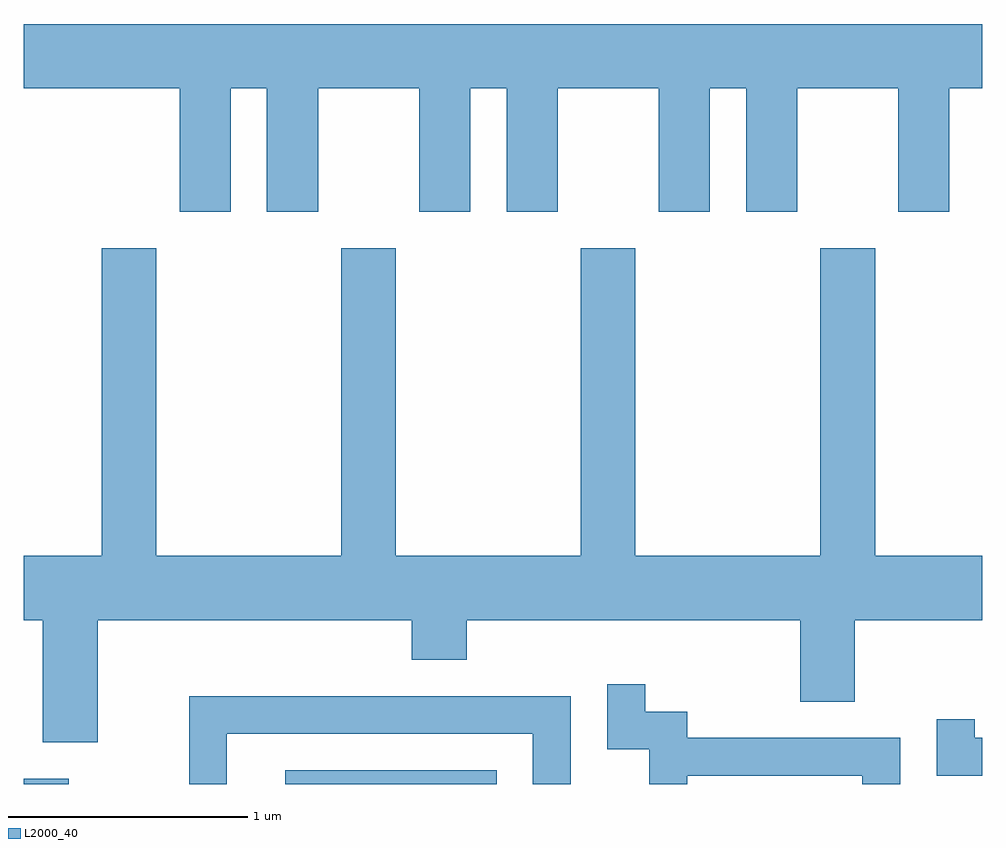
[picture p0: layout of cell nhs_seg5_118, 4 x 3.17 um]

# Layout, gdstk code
import gdstk
lib = gdstk.Library(unit=1e-6, precision=1e-09)
def R(c, l, rs):  # rectangles x0, y0, x1, y1
    for r in rs: c.add(gdstk.rectangle(r[:2], r[2:], *l))
def P(c, l, *ps):  # polygons
    for p in ps: c.add(gdstk.Polygon(p, *l))
L2000_40 = (2000, 40)

nhs_seg5_118 = lib.new_cell('nhs_seg5_118')
R(nhs_seg5_118, L2000_40, [(187.611,1496.072,187.799,1496.094), (188.703,1496.072,189.584,1496.129)])
P(nhs_seg5_118, L2000_40, [(188.474,1498.976),(188.626,1498.976),(188.626,1498.461),(188.839,1498.461),(188.839,1498.976),(189.261,1498.976),(189.261,1498.461),(189.474,1498.461),(189.474,1498.976),(189.626,1498.976),(189.626,1498.461),(189.839,1498.461),(189.839,1498.976),(190.261,1498.976),(190.261,1498.461),(190.474,1498.461),(190.474,1498.976),(190.626,1498.976),(190.626,1498.461),(190.839,1498.461),(190.839,1498.976),(191.261,1498.976),(191.261,1498.461),(191.474,1498.461),(191.474,1498.976),(191.611,1498.976),(191.611,1499.244),(187.611,1499.244),(187.611,1498.976),(188.261,1498.976),(188.261,1498.461),(188.474,1498.461)],
  [(187.919,1496.756),(189.231,1496.756),(189.231,1496.591),(189.459,1496.591),(189.459,1496.756),(190.851,1496.756),(190.851,1496.416),(191.079,1496.416),(191.079,1496.756),(191.611,1496.756),(191.611,1497.024),(191.164,1497.024),(191.164,1498.309),(190.936,1498.309),(190.936,1497.024),(190.164,1497.024),(190.164,1498.309),(189.936,1498.309),(189.936,1497.024),(189.164,1497.024),(189.164,1498.309),(188.936,1498.309),(188.936,1497.024),(188.164,1497.024),(188.164,1498.309),(187.936,1498.309),(187.936,1497.024),(187.611,1497.024),(187.611,1496.756),(187.691,1496.756),(187.691,1496.246),(187.919,1496.246)],
  [(190.379,1496.106),(191.111,1496.106),(191.111,1496.072),(191.269,1496.072),(191.269,1496.264),(190.379,1496.264),(190.379,1496.374),(190.204,1496.374),(190.204,1496.488),(190.046,1496.488),(190.046,1496.216),(190.221,1496.216),(190.221,1496.072),(190.379,1496.072)],
  [(188.459,1496.281),(189.736,1496.281),(189.736,1496.072),(189.894,1496.072),(189.894,1496.439),(188.301,1496.439),(188.301,1496.072),(188.459,1496.072)],
  [(191.611,1496.264),(191.579,1496.264),(191.579,1496.343),(191.421,1496.343),(191.421,1496.106),(191.611,1496.106)])

lib.write_gds('nhs_seg5_118.gds')
